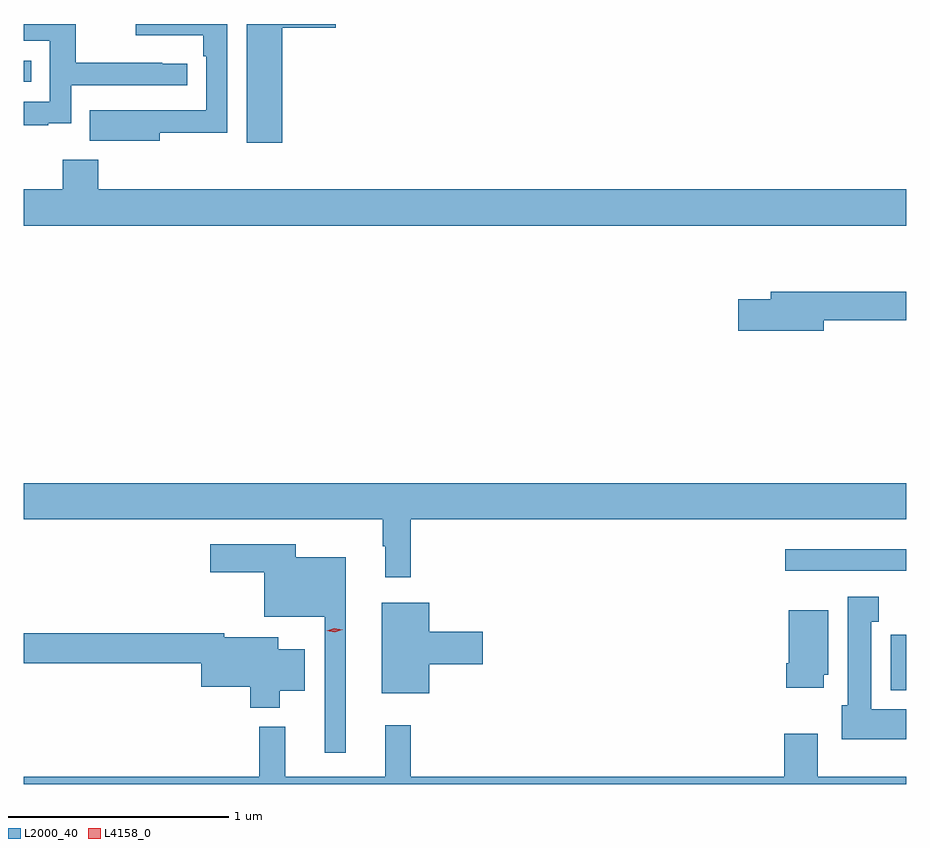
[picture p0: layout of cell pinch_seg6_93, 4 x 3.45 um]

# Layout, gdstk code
import gdstk
lib = gdstk.Library(unit=1e-6, precision=1e-09)
def R(c, l, rs):  # rectangles x0, y0, x1, y1
    for r in rs: c.add(gdstk.rectangle(r[:2], r[2:], *l))
def P(c, l, *ps):  # polygons
    for p in ps: c.add(gdstk.Polygon(p, *l))
L2000_40 = (2000, 40)
L4158_0 = (4158, 0)

pinch_seg6_93 = lib.new_cell('pinch_seg6_93')
R(pinch_seg6_93, L2000_40, [(942.807,915.926,942.876,916.176), (942.327,916.467,942.876,916.564), (938.876,918.684,938.909,918.78)])
P(pinch_seg6_93, L2000_40, [(938.987,918.497),(939.09,918.497),(939.09,918.669),(939.616,918.669),(939.616,918.765),(939.503,918.765),(939.503,918.77),(939.11,918.77),(939.11,918.946),(938.876,918.946),(938.876,918.87),(938.994,918.87),(938.994,918.594),(938.876,918.594),(938.876,918.486),(938.987,918.486)],
  [(939.493,918.454),(939.798,918.454),(939.798,918.946),(939.384,918.946),(939.384,918.896),(939.689,918.896),(939.689,918.8),(939.702,918.8),(939.702,918.555),(939.389,918.555),(939.389,918.556),(939.175,918.556),(939.175,918.416),(939.493,918.416)],
  [(940.048,918.929),(940.291,918.929),(940.291,918.946),(939.887,918.946),(939.887,918.408),(940.048,918.408)],
  [(942.876,918.196),(939.212,918.196),(939.212,918.331),(939.052,918.331),(939.052,918.196),(938.876,918.196),(938.876,918.032),(942.876,918.032)],
  [(942.502,917.602),(942.876,917.602),(942.876,917.731),(942.263,917.731),(942.263,917.697),(942.114,917.697),(942.114,917.555),(942.502,917.555)],
  [(940.631,916.7),(942.876,916.7),(942.876,916.864),(938.876,916.864),(938.876,916.7),(940.503,916.7),(940.503,916.577),(940.514,916.577),(940.514,916.437),(940.631,916.437)],
  [(940.336,916.528),(940.108,916.528),(940.108,916.588),(939.72,916.588),(939.72,916.459),(939.965,916.459),(939.965,916.259),(940.239,916.259),(940.239,915.642),(940.336,915.642)],
  [(942.876,915.838),(942.718,915.838),(942.718,916.235),(942.751,916.235),(942.751,916.348),(942.611,916.348),(942.611,915.858),(942.584,915.858),(942.584,915.704),(942.876,915.704)],
  [(940.714,916.043),(940.957,916.043),(940.957,916.19),(940.714,916.19),(940.714,916.321),(940.499,916.321),(940.499,915.911),(940.714,915.911)],
  [(942.502,915.996),(942.523,915.996),(942.523,916.288),(942.344,916.288),(942.344,916.048),(942.332,916.048),(942.332,915.936),(942.502,915.936)],
  [(940.036,915.923),(940.15,915.923),(940.15,916.111),(940.03,916.111),(940.03,916.165),(939.784,916.165),(939.784,916.184),(938.876,916.184),(938.876,916.048),(939.68,916.048),(939.68,915.941),(939.902,915.941),(939.902,915.845),(940.036,915.845)],
  [(942.876,915.532),(942.475,915.532),(942.475,915.727),(942.323,915.727),(942.323,915.532),(940.631,915.532),(940.631,915.766),(940.514,915.766),(940.514,915.532),(940.061,915.532),(940.061,915.76),(939.943,915.76),(939.943,915.532),(938.876,915.532),(938.876,915.5),(942.876,915.5)])
P(pinch_seg6_93, L4158_0, [(940.286,916.187),(940.25,916.195),(940.249,916.195),(940.25,916.195),(940.284,916.207),(940.32,916.2),(940.321,916.2),(940.32,916.2)])

lib.write_gds('pinch_seg6_93.gds')
